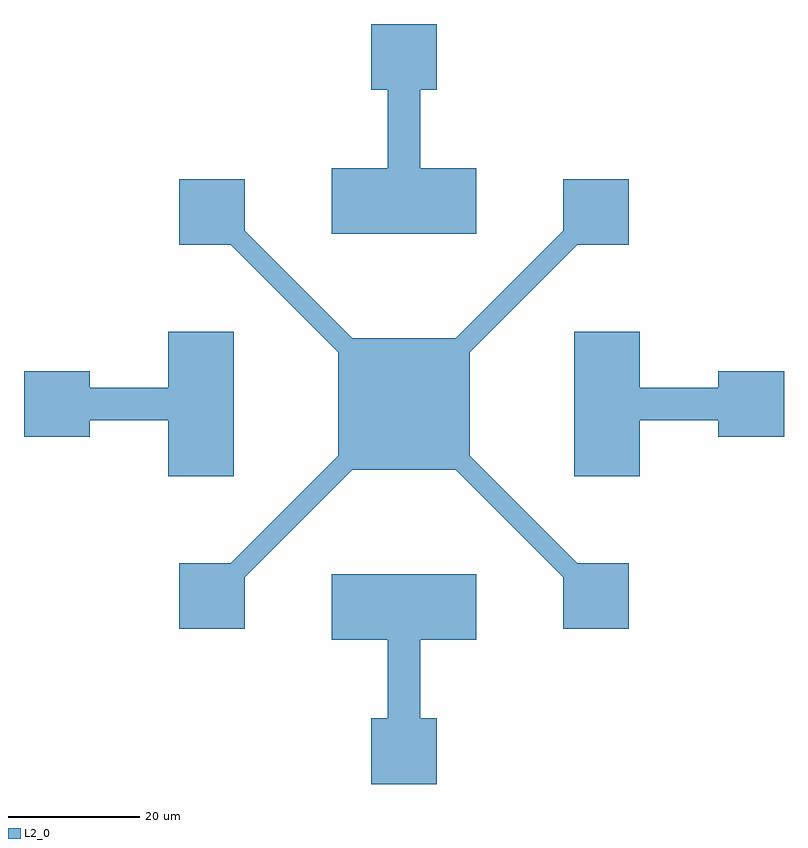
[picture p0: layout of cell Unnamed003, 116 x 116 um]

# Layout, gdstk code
from math import pi, radians
import gdstk
lib = gdstk.Library(unit=1e-6, precision=1e-09)
def R(c, l, rs):  # rectangles x0, y0, x1, y1
    for r in rs: c.add(gdstk.rectangle(r[:2], r[2:], *l))
def P(c, l, *ps):  # polygons
    for p in ps: c.add(gdstk.Polygon(p, *l))
L2_0 = (2, 0)

rectangle004 = lib.new_cell('rectangle004')
R(rectangle004, L2_0, [(0,0,10,10)])

rectangle010 = lib.new_cell('rectangle010')
R(rectangle010, L2_0, [(0,0,5,20)])

rectangle013 = lib.new_cell('rectangle013')
R(rectangle013, L2_0, [(0,0,22,10)])

unnamed002 = lib.new_cell('Unnamed002')
unnamed002.add(gdstk.Reference(rectangle004, (0,0)))
unnamed002.add(gdstk.Reference(rectangle010, (2.5,-12)))
unnamed002.add(gdstk.Reference(rectangle013, (-6,-22)))

rectangle005 = lib.new_cell('rectangle005')
R(rectangle005, L2_0, [(0,0,10,10)])

rectangle007 = lib.new_cell('rectangle007')
R(rectangle007, L2_0, [(0,0,5,20)])

rectangle012 = lib.new_cell('rectangle012')
R(rectangle012, L2_0, [(0,0,22,10)])

unnamed015 = lib.new_cell('Unnamed015')
unnamed015.add(gdstk.Reference(rectangle005, (0,0)))
unnamed015.add(gdstk.Reference(rectangle007, (2.5,-12)))
unnamed015.add(gdstk.Reference(rectangle012, (-6,-22)))

rectangle006 = lib.new_cell('rectangle006')
R(rectangle006, L2_0, [(0,0,10,10)])

rectangle009 = lib.new_cell('rectangle009')
R(rectangle009, L2_0, [(0,0,5,20)])

rectangle011 = lib.new_cell('rectangle011')
R(rectangle011, L2_0, [(0,0,22,10)])

unnamed017 = lib.new_cell('Unnamed017')
unnamed017.add(gdstk.Reference(rectangle006, (0,0)))
unnamed017.add(gdstk.Reference(rectangle009, (2.5,-12)))
unnamed017.add(gdstk.Reference(rectangle011, (-6,-22)))

rectangle = lib.new_cell('rectangle')
R(rectangle, L2_0, [(0,0,10,10)])

rectangle008 = lib.new_cell('rectangle008')
R(rectangle008, L2_0, [(0,0,5,20)])

rectangle014 = lib.new_cell('rectangle014')
R(rectangle014, L2_0, [(0,0,22,10)])

unnamed016 = lib.new_cell('Unnamed016')
unnamed016.add(gdstk.Reference(rectangle, (0,0)))
unnamed016.add(gdstk.Reference(rectangle008, (2.5,-12)))
unnamed016.add(gdstk.Reference(rectangle014, (-6,-22)))

rectangle018 = lib.new_cell('rectangle018')
R(rectangle018, L2_0, [(0,0,20,20)])

rectangle022 = lib.new_cell('rectangle022')
R(rectangle022, L2_0, [(0,0,10,10)])

unnamed019 = lib.new_cell('Unnamed019')
P(unnamed019, L2_0, [(28.939,31.061),(31.061,28.939),(1.061,-1.061),(-1.061,1.061)])
unnamed019.add(gdstk.Reference(rectangle022, (25,25)))

rectangle021 = lib.new_cell('rectangle021')
R(rectangle021, L2_0, [(0,0,10,10)])

unnamed024 = lib.new_cell('Unnamed024')
P(unnamed024, L2_0, [(-31.061,28.939),(-28.939,31.061),(1.061,1.061),(-1.061,-1.061)])
unnamed024.add(gdstk.Reference(rectangle021, (-25,25), rotation=pi/2))

rectangle023 = lib.new_cell('rectangle023')
R(rectangle023, L2_0, [(0,0,10,10)])

unnamed025 = lib.new_cell('Unnamed025')
P(unnamed025, L2_0, [(-28.939,-31.061),(-31.061,-28.939),(-1.061,1.061),(1.061,-1.061)])
unnamed025.add(gdstk.Reference(rectangle023, (-25,-25), rotation=pi))

rectangle020 = lib.new_cell('rectangle020')
R(rectangle020, L2_0, [(0,0,10,10)])

unnamed026 = lib.new_cell('Unnamed026')
P(unnamed026, L2_0, [(31.061,-28.939),(28.939,-31.061),(-1.061,-1.061),(1.061,1.061)])
unnamed026.add(gdstk.Reference(rectangle020, (25,-25), rotation=3*pi/2))

unnamed003 = lib.new_cell('Unnamed003')
unnamed003.add(gdstk.Reference(unnamed002, (-5,48)))
unnamed003.add(gdstk.Reference(unnamed015, (5,-48), rotation=pi))
unnamed003.add(gdstk.Reference(unnamed017, (-48,-5), rotation=pi/2))
unnamed003.add(gdstk.Reference(unnamed016, (48,5), rotation=3*pi/2))
unnamed003.add(gdstk.Reference(rectangle018, (-10,-10)))
unnamed003.add(gdstk.Reference(unnamed019, (-0.707,-0.707)))
unnamed003.add(gdstk.Reference(unnamed024, (0.707,-0.707)))
unnamed003.add(gdstk.Reference(unnamed025, (0.707,0.707)))
unnamed003.add(gdstk.Reference(unnamed026, (-0.707,0.707)))

lib.write_gds('Unnamed003.gds')
